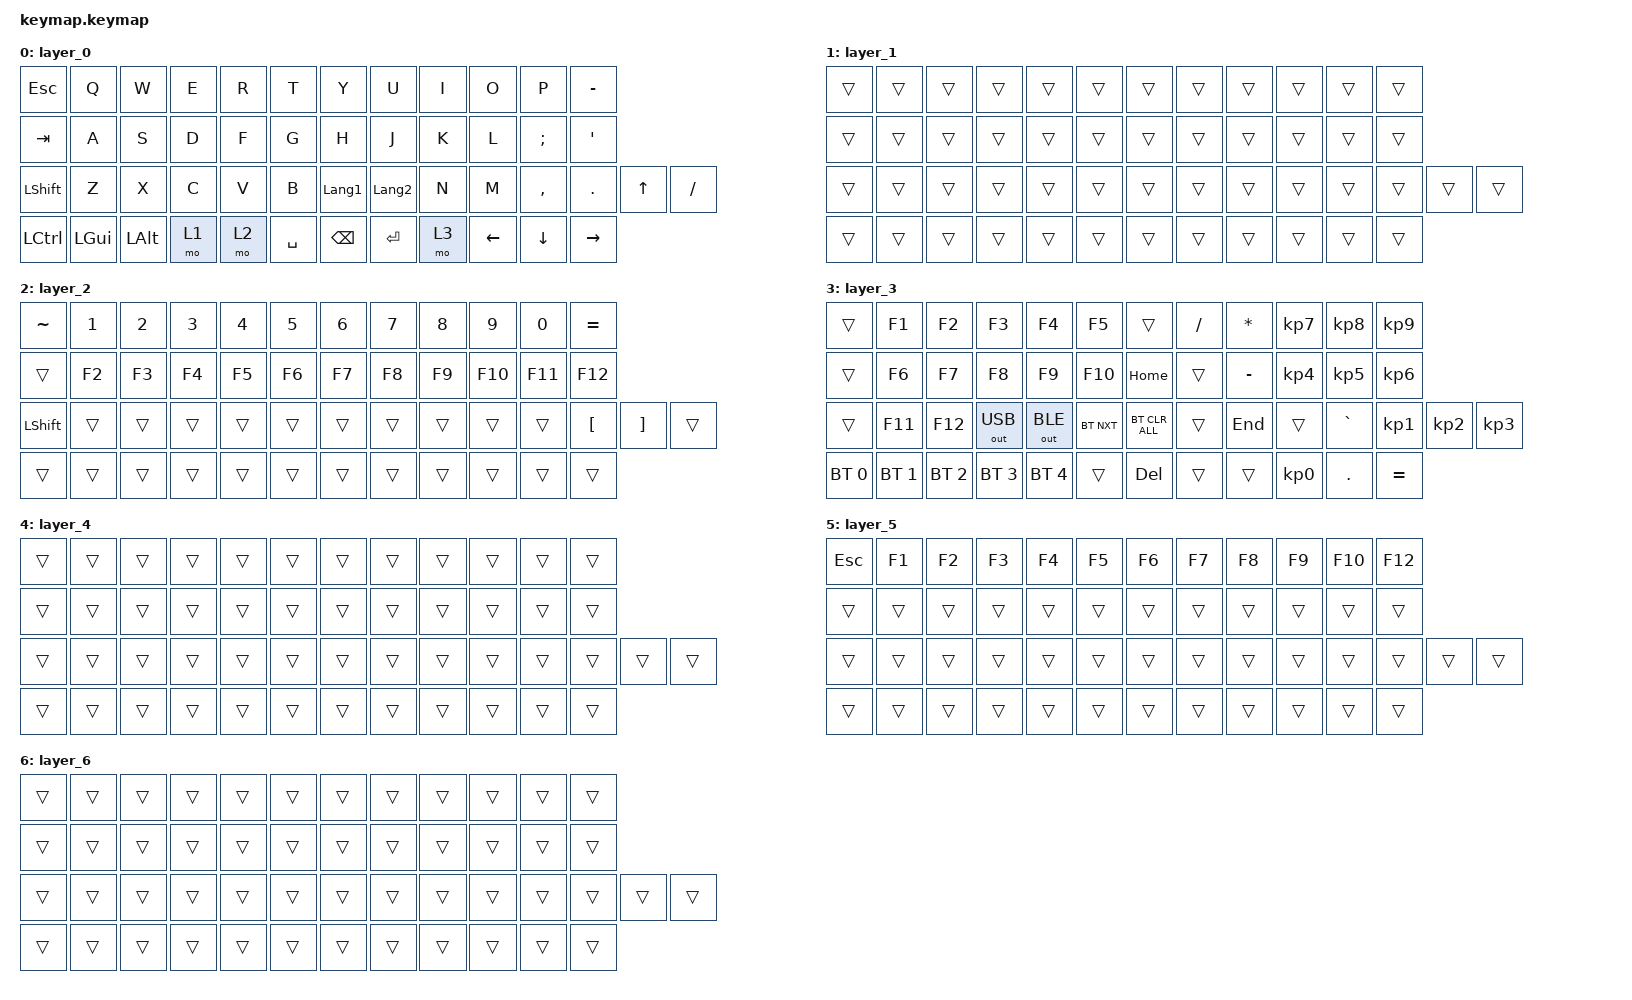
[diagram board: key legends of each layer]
#include <behaviors.dtsi>
#include <dt-bindings/zmk/bt.h>
#include <dt-bindings/zmk/keys.h>
#include <dt-bindings/zmk/outputs.h>
#include <dt-bindings/zmk/pointing.h>

/ {
    combos {
        compatible = "zmk,combos";

        bt_clear {
            bindings = <&bt BT_CLR>;
            key-positions = <28 29>;
            layers = <2>;
        };

        leftclick {
            bindings = <&mkp MB1>;
            key-positions = <19 20>;
        };

        middle {
            bindings = <&mkp MB3>;
            key-positions = <19 20 21>;
        };

        rightclick {
            bindings = <&mkp MB2>;
            key-positions = <20 21>;
        };
    };

    keymap {
        compatible = "zmk,keymap";

        layer_0 {
            bindings = <
&kp ESC           &kp Q         &kp W         &kp E  &kp R  &kp T      &kp Y           &kp U           &kp I  &kp O           &kp P           &kp MINUS
&kp TAB           &kp A         &kp S         &kp D  &kp F  &kp G      &kp H           &kp J           &kp K  &kp L           &kp SEMICOLON   &kp SQT
&kp LSHFT         &kp Z         &kp X         &kp C  &kp V  &kp B      &kp LANGUAGE_1  &kp LANGUAGE_2  &kp N  &kp M           &kp COMMA       &kp DOT          &kp UP_ARROW  &kp SLASH
&kp LEFT_CONTROL  &kp LEFT_GUI  &kp LEFT_ALT  &mo 1  &mo 2  &kp SPACE  &kp BACKSPACE   &kp ENTER       &mo 3  &kp LEFT_ARROW  &kp DOWN_ARROW  &kp RIGHT_ARROW
            >;
        };

        layer_1 {
            bindings = <
&trans  &trans  &trans  &trans  &trans  &trans  &trans  &trans  &trans  &trans  &trans  &trans
&trans  &trans  &trans  &trans  &trans  &trans  &trans  &trans  &trans  &trans  &trans  &trans
&trans  &trans  &trans  &trans  &trans  &trans  &trans  &trans  &trans  &trans  &trans  &trans  &trans  &trans
&trans  &trans  &trans  &trans  &trans  &trans  &trans  &trans  &trans  &trans  &trans  &trans
            >;
        };

        layer_2 {
            bindings = <
&kp TILDE       &kp N1  &kp N2  &kp N3  &kp N4  &kp N5  &kp N6  &kp N7  &kp N8  &kp N9   &kp N0   &kp EQUAL
&trans          &kp F2  &kp F3  &kp F4  &kp F5  &kp F6  &kp F7  &kp F8  &kp F9  &kp F10  &kp F11  &kp F12
&kp LEFT_SHIFT  &trans  &trans  &trans  &trans  &trans  &trans  &trans  &trans  &trans   &trans   &kp LEFT_BRACKET  &kp RIGHT_BRACKET  &trans
&trans          &trans  &trans  &trans  &trans  &trans  &trans  &trans  &trans  &trans   &trans   &trans
            >;
        };

        layer_3 {
            bindings = <
&trans        &kp F1        &kp F2        &kp F3        &kp F4        &kp F5      &trans          &kp FSLH  &kp ASTRK  &kp KP_NUMBER_7  &kp KP_NUMBER_8  &kp KP_NUMBER_9
&trans        &kp F6        &kp F7        &kp F8        &kp F9        &kp F10     &kp HOME        &trans    &kp MINUS  &kp KP_NUMBER_4  &kp KP_NUMBER_5  &kp KP_NUMBER_6
&trans        &kp F11       &kp F12       &out OUT_USB  &out OUT_BLE  &bt BT_NXT  &bt BT_CLR_ALL  &trans    &kp END    &trans           &kp GRAVE        &kp KP_NUMBER_1  &kp KP_NUMBER_2  &kp KP_NUMBER_3
&bt BT_SEL 0  &bt BT_SEL 1  &bt BT_SEL 2  &bt BT_SEL 3  &bt BT_SEL 4  &trans      &kp DELETE      &trans    &trans     &kp KP_NUMBER_0  &kp DOT          &kp EQUAL
            >;
        };

        layer_4 {
            bindings = <
&trans  &trans  &trans  &trans  &trans  &trans  &trans  &trans  &trans  &trans  &trans  &trans
&trans  &trans  &trans  &trans  &trans  &trans  &trans  &trans  &trans  &trans  &trans  &trans
&trans  &trans  &trans  &trans  &trans  &trans  &trans  &trans  &trans  &trans  &trans  &trans  &trans  &trans
&trans  &trans  &trans  &trans  &trans  &trans  &trans  &trans  &trans  &trans  &trans  &trans
            >;
        };

        layer_5 {
            bindings = <
&kp ESC  &kp F1  &kp F2  &kp F3  &kp F4  &kp F5  &kp F6  &kp F7  &kp F8  &kp F9  &kp F10  &kp F12
&trans   &trans  &trans  &trans  &trans  &trans  &trans  &trans  &trans  &trans  &trans   &trans
&trans   &trans  &trans  &trans  &trans  &trans  &trans  &trans  &trans  &trans  &trans   &trans   &trans  &trans
&trans   &trans  &trans  &trans  &trans  &trans  &trans  &trans  &trans  &trans  &trans   &trans
            >;
        };

        layer_6 {
            bindings = <
&trans  &trans  &trans  &trans  &trans  &trans  &trans  &trans  &trans  &trans  &trans  &trans
&trans  &trans  &trans  &trans  &trans  &trans  &trans  &trans  &trans  &trans  &trans  &trans
&trans  &trans  &trans  &trans  &trans  &trans  &trans  &trans  &trans  &trans  &trans  &trans  &trans  &trans
&trans  &trans  &trans  &trans  &trans  &trans  &trans  &trans  &trans  &trans  &trans  &trans
            >;
        };
    };
};
